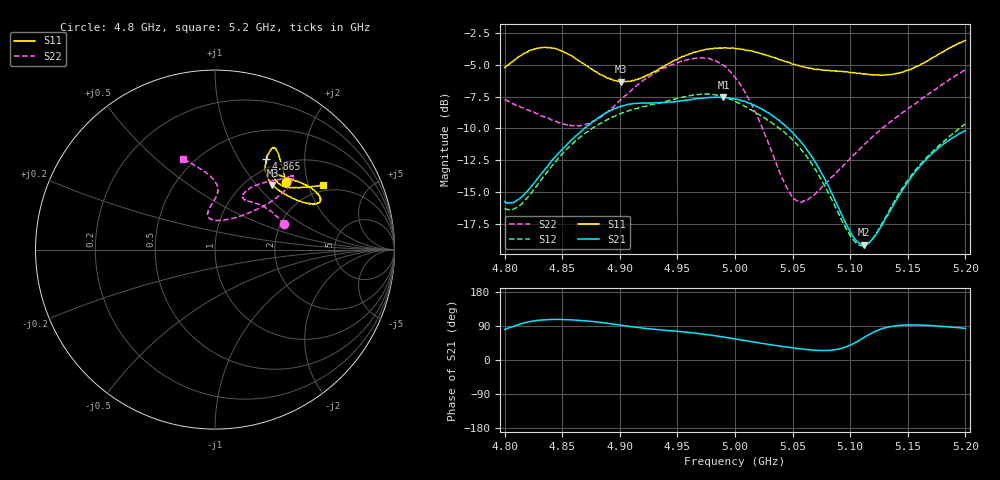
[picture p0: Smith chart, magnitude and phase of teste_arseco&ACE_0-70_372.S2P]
! Network Analyzer HP8722D
! Hewlett-Packard
! Data name: Linha & Wilkinson
! Saver's name: Rodrigo Anjos
! Comments: Teste da utilização de aquisição
! continua pelo VNA HP8722D
! Time and date: 8/5/2025 15:51
!  Frequency  S11  S21  S12  S22
# HZ  S  MA R 50
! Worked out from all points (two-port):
!   401 points, 4.8 GHz to 5.2 GHz, reference 50 ohm
!   highest |S21| = -7.55 dB at 4.99 GHz (marker M1); lowest = -19.1 dB at 5.112 GHz (marker M2)
!   |S21| within 3 dB of the highest: 4.862 GHz to 5.052 GHz (190 MHz wide, 3.83 % of centre); 5.192443 GHz to end of sweep
!   lowest |S11| = -6.3 dB at 4.901 GHz (marker M3), VSWR 2.86, Z = 64.8 + j60.8 ohm
!   |S11| at or under -10 dB: nowhere
!   |S22| runs from -15.8 to -4.5 dB; largest |S21 - S12| = 0.17
!   S11 on the Smith chart (normalised r, x): 4.8 GHz: 1.38, +1.49; 4.865 GHz: 0.87, +1.32; 5.2 GHz: 1.77, +2.48
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4.8e9  0.548 43.7  0.1635 80.6  0.1537 45.3  0.409 20.0
4.813e9  0.6066 52.6  0.168 94.3  0.1576 59.2  0.3864 31.2
4.831e9  0.6549 58.8  0.2077 105.2  0.1968 71.1  0.3562 43.6
4.845e9  0.6479 60.7  0.2475 107.1  0.2364 73.8  0.3366 51.4
4.865e9  0.5789 60.5  0.3041 104.8  0.2908 73.5  0.3242 60.7
4.867e9  0.571 60.2  0.3095 104.1  0.2956 73.4  0.3247 61.1
4.884e9  0.5137 56.5  0.3544 98.9  0.3323 71.8  0.3508 62.8
4.901e9  0.4819 48.4  0.3861 91.8  0.3616 69.8  0.4106 59.1
4.934e9  0.5413 30.2  0.3979 79.8  0.3984 65.7  0.5319 47.3
4.962e9  0.6207 24.4  0.4103 72.0  0.426 59.6  0.5923 44.0
4.99e9  0.6549 26.9  0.4194 60.5  0.4212 48.4  0.5585 41.0
5e9  0.65 28.9  0.4117 55.6  0.4051 44.5  0.5017 40.2
5.016e9  0.6324 33.4  0.3909 47.6  0.3689 39.5  0.3801 41.3
5.048e9  0.5712 44.0  0.3107 33.0  0.2912 31.9  0.176 71.2
5.056e9  0.5561 47.1  0.2844 29.7  0.2666 30.3  0.1636 84.1
5.067e9  0.543 50.6  0.2444 26.3  0.2288 29.1  0.1711 97.6
5.1e9  0.5226 52.8  0.1243 39.1  0.1201 48.6  0.2411 96.1
5.112e9  0.5161 50.3  0.1107 59.6  0.1098 70.4  0.2737 91.3
5.12e9  0.5118 48.4  0.1176 73.1  0.1175 84.6  0.2947 88.8
5.134e9  0.5139 44.6  0.1484 87.6  0.1511 100.0  0.3335 87.0
5.163e9  0.569 37.4  0.2315 92.0  0.2344 107.9  0.4153 94.4
5.2e9  0.6992 30.9  0.3101 83.6  0.3298 108.2  0.5354 109.5
